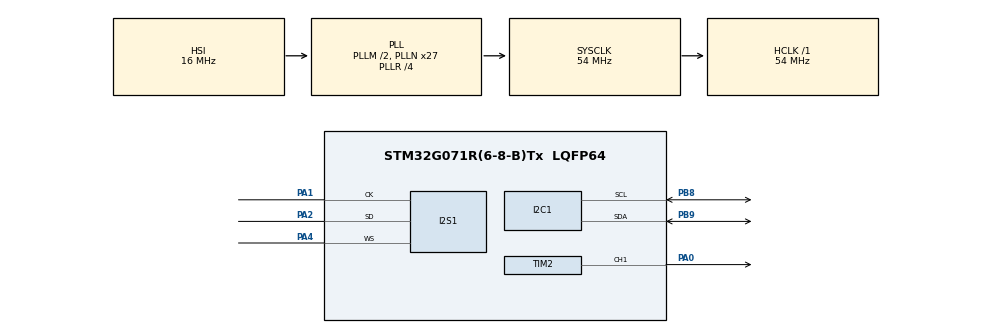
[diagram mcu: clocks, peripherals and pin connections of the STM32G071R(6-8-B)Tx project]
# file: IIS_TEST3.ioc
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I2C1.Timing=0x20404768
I2S1.AudioFreq=I2S_AUDIOFREQ_8K
I2S1.ErrorAudioFreq=-0.15 %
I2S1.FullDuplexMode=I2S_FULLDUPLEXMODE_DISABLE
I2S1.Instance=SPI$Index
I2S1.RealAudioFreq=7.988 KHz
I2S1.VirtualMode=I2S_MODE_MASTER
Mcu.Family=STM32G0
Mcu.Name=STM32G071R(6-8-B)Tx
Mcu.Package=LQFP64
PA0.Signal=S_TIM2_CH1
PA1.GPIO_Speed=GPIO_SPEED_FREQ_VERY_HIGH
PA1.Mode=Half_Duplex_Master
PA1.Signal=I2S1_CK
PA2.GPIO_Speed=GPIO_SPEED_FREQ_VERY_HIGH
PA2.Mode=Half_Duplex_Master
PA2.Signal=I2S1_SD
PA4.GPIO_Speed=GPIO_SPEED_FREQ_VERY_HIGH
PA4.Mode=Half_Duplex_Master
PA4.Signal=I2S1_WS
PB8.GPIO_Speed=GPIO_SPEED_FREQ_VERY_HIGH
PB8.Mode=I2C
PB8.Signal=I2C1_SCL
PB9.GPIO_Speed=GPIO_SPEED_FREQ_VERY_HIGH
PB9.Mode=I2C
PB9.Signal=I2C1_SDA
ProjectManager.HeapSize=0x200
ProjectManager.StackSize=0x400
ProjectManager.TargetToolchain=MDK-ARM V5.27
RCC.ADCFreq_Value=54000000
RCC.AHBFreq_Value=54000000
RCC.CortexFreq_Value=54000000
RCC.EXTERNAL_CLOCK_VALUE=48000
RCC.HCLKFreq_Value=54000000
RCC.HSE_VALUE=8000000
RCC.HSICalibrationValue=16
RCC.HSI_VALUE=16000000
RCC.I2S1CLockSelection=RCC_I2S1CLKSOURCE_PLL
RCC.LSE_VALUE=32768
RCC.PLLM=RCC_PLLM_DIV2
RCC.PLLN=27
RCC.PLLP=RCC_PLLP_DIV5
RCC.PLLR=RCC_PLLR_DIV4
RCC.SYSCLKFreq_VALUE=54000000
RCC.SYSCLKSource=RCC_SYSCLKSOURCE_PLLCLK
RCC.VCOOutputFreq_Value=216000000
SH.S_TIM2_CH1.0=TIM2_CH1,PWM Generation1 CH1
TIM2.Channel-PWM\ Generation1\ CH1=TIM_CHANNEL_1
TIM2.Period=2
TIM2.Pulse-PWM\ Generation1\ CH1=1
VP_SYS_VS_DBSignals.Mode=DisableDeadBatterySignals
board=custom

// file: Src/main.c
#include "main.h"
I2C_HandleTypeDef hi2c1;
I2S_HandleTypeDef hi2s1;
TIM_HandleTypeDef htim2;
void SystemClock_Config(void);
static void MX_GPIO_Init(void);
static void MX_I2C1_Init(void);
static void MX_I2S1_Init(void);
static void MX_TIM2_Init(void);

#include "wave_data.h"
#define WM8960_ADDRESS  0x1A
#define AUIDO_START_ADDRESS       58 /* 相对于音频文件头大小的偏移量 */
static uint16_t WM8960_REG_VAL[56] =  //寄存器值
{
  0x0097, 0x0097, 0x0000, 0x0000, 0x0000, 0x0008, 0x0000, 0x000A,
  0x01C0, 0x0000, 0x00FF, 0x00FF, 0x0000, 0x0000, 0x0000, 0x0000,
  0x0000, 0x007B, 0x0100, 0x0032, 0x0000, 0x00C3, 0x00C3, 0x01C0,
  0x0000, 0x0000, 0x0000, 0x0000, 0x0000, 0x0000, 0x0000, 0x0000,
  0x0100, 0x0100, 0x0050, 0x0050, 0x0050, 0x0050, 0x0000, 0x0000,
  0x0000, 0x0000, 0x0040, 0x0000, 0x0000, 0x0050, 0x0050, 0x0000,
  0x0000, 0x0037, 0x004D, 0x0080, 0x0008, 0x0031, 0x0026, 0x00ED
};

uint32_t WaveDataLength=0;
uint8_t WM8960_Write_Reg(uint8_t reg, uint16_t dat);
uint8_t WM89060_Init(void);

int main(void)
{
  HAL_Init();
  SystemClock_Config();
  MX_GPIO_Init();
  MX_I2C1_Init();
  MX_I2S1_Init();
  MX_TIM2_Init();

	HAL_TIM_PWM_Start(&htim2,TIM_CHANNEL_1);

  WM89060_Init();
  WaveDataLength = sizeof(WaveData) - AUIDO_START_ADDRESS; //计算音频数据长度 = 总长度 - 开头
  while (1)
  {
		HAL_I2S_Transmit(&hi2s1,(uint16_t*)(WaveData + AUIDO_START_ADDRESS),WaveDataLength,1000);
		HAL_Delay(10);
  }
}

void SystemClock_Config(void)
{
  RCC_OscInitTypeDef RCC_OscInitStruct = {0};
  RCC_ClkInitTypeDef RCC_ClkInitStruct = {0};
  RCC_PeriphCLKInitTypeDef PeriphClkInit = {0};

  /** Configure the main internal regulator output voltage
  */
  HAL_PWREx_ControlVoltageScaling(PWR_REGULATOR_VOLTAGE_SCALE1);
  /** Initializes the RCC Oscillators according to the specified parameters
  * in the RCC_OscInitTypeDef structure.
  */
  RCC_OscInitStruct.OscillatorType = RCC_OSCILLATORTYPE_HSI;
  RCC_OscInitStruct.HSIState = RCC_HSI_ON;
  RCC_OscInitStruct.HSIDiv = RCC_HSI_DIV1;
  RCC_OscInitStruct.HSICalibrationValue = 16;
  RCC_OscInitStruct.PLL.PLLState = RCC_PLL_ON;
  RCC_OscInitStruct.PLL.PLLSource = RCC_PLLSOURCE_HSI;
  RCC_OscInitStruct.PLL.PLLM = RCC_PLLM_DIV2;
  RCC_OscInitStruct.PLL.PLLN = 27;
  RCC_OscInitStruct.PLL.PLLP = RCC_PLLP_DIV5;
  RCC_OscInitStruct.PLL.PLLQ = RCC_PLLQ_DIV2;
  RCC_OscInitStruct.PLL.PLLR = RCC_PLLR_DIV4;
  if (HAL_RCC_OscConfig(&RCC_OscInitStruct) != HAL_OK)
  {
    Error_Handler();
  }
  /** Initializes the CPU, AHB and APB buses clocks
  */
  RCC_ClkInitStruct.ClockType = RCC_CLOCKTYPE_HCLK|RCC_CLOCKTYPE_SYSCLK
                              |RCC_CLOCKTYPE_PCLK1;
  RCC_ClkInitStruct.SYSCLKSource = RCC_SYSCLKSOURCE_PLLCLK;
  RCC_ClkInitStruct.AHBCLKDivider = RCC_SYSCLK_DIV1;
  RCC_ClkInitStruct.APB1CLKDivider = RCC_HCLK_DIV1;

  if (HAL_RCC_ClockConfig(&RCC_ClkInitStruct, FLASH_LATENCY_2) != HAL_OK)
  {
    Error_Handler();
  }
  /** Initializes the peripherals clocks
  */
  PeriphClkInit.PeriphClockSelection = RCC_PERIPHCLK_I2C1|RCC_PERIPHCLK_I2S1;
  PeriphClkInit.I2c1ClockSelection = RCC_I2C1CLKSOURCE_PCLK1;
  PeriphClkInit.I2s1ClockSelection = RCC_I2S1CLKSOURCE_PLL;
  if (HAL_RCCEx_PeriphCLKConfig(&PeriphClkInit) != HAL_OK)
  {
    Error_Handler();
  }
}

static void MX_I2C1_Init(void)
{

  hi2c1.Instance = I2C1;
  hi2c1.Init.Timing = 0x20404768;
  hi2c1.Init.OwnAddress1 = 0;
  hi2c1.Init.AddressingMode = I2C_ADDRESSINGMODE_7BIT;
  hi2c1.Init.DualAddressMode = I2C_DUALADDRESS_DISABLE;
  hi2c1.Init.OwnAddress2 = 0;
  hi2c1.Init.OwnAddress2Masks = I2C_OA2_NOMASK;
  hi2c1.Init.GeneralCallMode = I2C_GENERALCALL_DISABLE;
  hi2c1.Init.NoStretchMode = I2C_NOSTRETCH_DISABLE;
  if (HAL_I2C_Init(&hi2c1) != HAL_OK)
  {
    Error_Handler();
  }
  /** Configure Analogue filter
  */
  if (HAL_I2CEx_ConfigAnalogFilter(&hi2c1, I2C_ANALOGFILTER_ENABLE) != HAL_OK)
  {
    Error_Handler();
  }
  /** Configure Digital filter
  */
  if (HAL_I2CEx_ConfigDigitalFilter(&hi2c1, 0) != HAL_OK)
  {
    Error_Handler();
  }

}

static void MX_I2S1_Init(void)
{
  hi2s1.Instance = SPI1;
  hi2s1.Init.Mode = I2S_MODE_MASTER_TX;
  hi2s1.Init.Standard = I2S_STANDARD_PHILIPS;
  hi2s1.Init.DataFormat = I2S_DATAFORMAT_16B;
  hi2s1.Init.MCLKOutput = I2S_MCLKOUTPUT_DISABLE;
  hi2s1.Init.AudioFreq = I2S_AUDIOFREQ_8K;//I2S_AUDIOFREQ_44K;
  hi2s1.Init.CPOL = I2S_CPOL_LOW;
  if (HAL_I2S_Init(&hi2s1) != HAL_OK)
  {
    Error_Handler();
  }
}

static void MX_TIM2_Init(void)
{
  TIM_MasterConfigTypeDef sMasterConfig = {0};
  TIM_OC_InitTypeDef sConfigOC = {0};
  htim2.Instance = TIM2;
  htim2.Init.Prescaler = 0;
  htim2.Init.CounterMode = TIM_COUNTERMODE_UP;
  htim2.Init.Period = 13;//2;
  htim2.Init.ClockDivision = TIM_CLOCKDIVISION_DIV1;
  htim2.Init.AutoReloadPreload = TIM_AUTORELOAD_PRELOAD_DISABLE;
  if (HAL_TIM_PWM_Init(&htim2) != HAL_OK)
  {
    Error_Handler();
  }
  sMasterConfig.MasterOutputTrigger = TIM_TRGO_RESET;
  sMasterConfig.MasterSlaveMode = TIM_MASTERSLAVEMODE_DISABLE;
  if (HAL_TIMEx_MasterConfigSynchronization(&htim2, &sMasterConfig) != HAL_OK)
  {
    Error_Handler();
  }
  sConfigOC.OCMode = TIM_OCMODE_PWM1;
  sConfigOC.Pulse = 6;//1;
  sConfigOC.OCPolarity = TIM_OCPOLARITY_HIGH;
  sConfigOC.OCFastMode = TIM_OCFAST_DISABLE;
  if (HAL_TIM_PWM_ConfigChannel(&htim2, &sConfigOC, TIM_CHANNEL_1) != HAL_OK)
  {
    Error_Handler();
  }
  HAL_TIM_MspPostInit(&htim2);
}

static void MX_GPIO_Init(void)
{

  /* GPIO Ports Clock Enable */
  __HAL_RCC_GPIOA_CLK_ENABLE();
  __HAL_RCC_GPIOB_CLK_ENABLE();

}

/* USER CODE BEGIN 4 */
uint8_t WM8960_Write_Reg(uint8_t reg, uint16_t dat)
{
  uint8_t res,I2C_Data[2];
  I2C_Data[0] = (reg<<1)|((uint8_t)((dat>>8)&0x0001));  //寄存器地址
  I2C_Data[1] = (uint8_t)(dat&0x00FF);                  //寄存器数据
  res = HAL_I2C_Master_Transmit(&hi2c1,(WM8960_ADDRESS<<1),I2C_Data,2,10);
  if(res == HAL_OK)
    WM8960_REG_VAL[reg] = dat;
  return res;
}

uint8_t WM89060_Init(void)
{
  uint8_t res;
  //重置设备
  res = WM8960_Write_Reg(0x0f, 0x0000);
  if(res != 0)
    return res;
  else ; //WM8960复位成功
  //设置电源
  res =  WM8960_Write_Reg(0x19, 1<<8 | 1<<7 | 1<<6);
  res += WM8960_Write_Reg(0x1A, 1<<8 | 1<<7 | 1<<6 | 1<<5 | 1<<4 | 1<<3);
  res += WM8960_Write_Reg(0x2F, 1<<3 | 1<<2);
  if(res != 0)  	//电源设置失败
    return res;
  //配置时钟
  //MCLK->div1->SYSCLK->DAC/ADC sample Freq = 25MHz(MCLK)/2*256 = 48.8kHz
  WM8960_Write_Reg(0x04, 0x0000); //预设
  //配置ADC和DAC
  WM8960_Write_Reg(0x05, 0x0000);	//预设
  //配置音频接口
  //I2S格式16位字长
  WM8960_Write_Reg(0x07, 0x0002);	//√
  //Configure HP_L and HP_R OUTPUTS
  WM8960_Write_Reg(0x02, 0x006F | 0x0100);  //LOUT1 Volume Set 输出模拟电压6F最大
  WM8960_Write_Reg(0x03, 0x006F | 0x0100);  //ROUT1 Volume Set
  //Configure SPK_RP and SPK_RN
  WM8960_Write_Reg(0x28, 0x007F | 0x0100); //Left Speaker Volume  7F最大
  WM8960_Write_Reg(0x29, 0x007F | 0x0100); //Right Speaker Volume 7F
  //输出使能
  WM8960_Write_Reg(0x31, 0x00F7); 	//左右声道都打开
  //配置DAC的值
  WM8960_Write_Reg(0x0a, 0x00FF | 0x0100); //FF无衰减
  WM8960_Write_Reg(0x0b, 0x00FF | 0x0100);
  //3D 音效控制
	//WM8960_Write_Reg(0x10, 0x001F);
  //配置 MIXER
  WM8960_Write_Reg(0x22, 1<<8 | 1<<7);
  WM8960_Write_Reg(0x25, 1<<8 | 1<<7);
  //Jack Detect
  WM8960_Write_Reg(0x18, 1<<6 | 0<<5);
  WM8960_Write_Reg(0x17, 0x01C3);
  WM8960_Write_Reg(0x30, 0x0009);//0x000D,0x0005
  return 0;
}

/* USER CODE END 4 */

void Error_Handler(void)
{
  __disable_irq();
  while (1)
  {
  }
}
